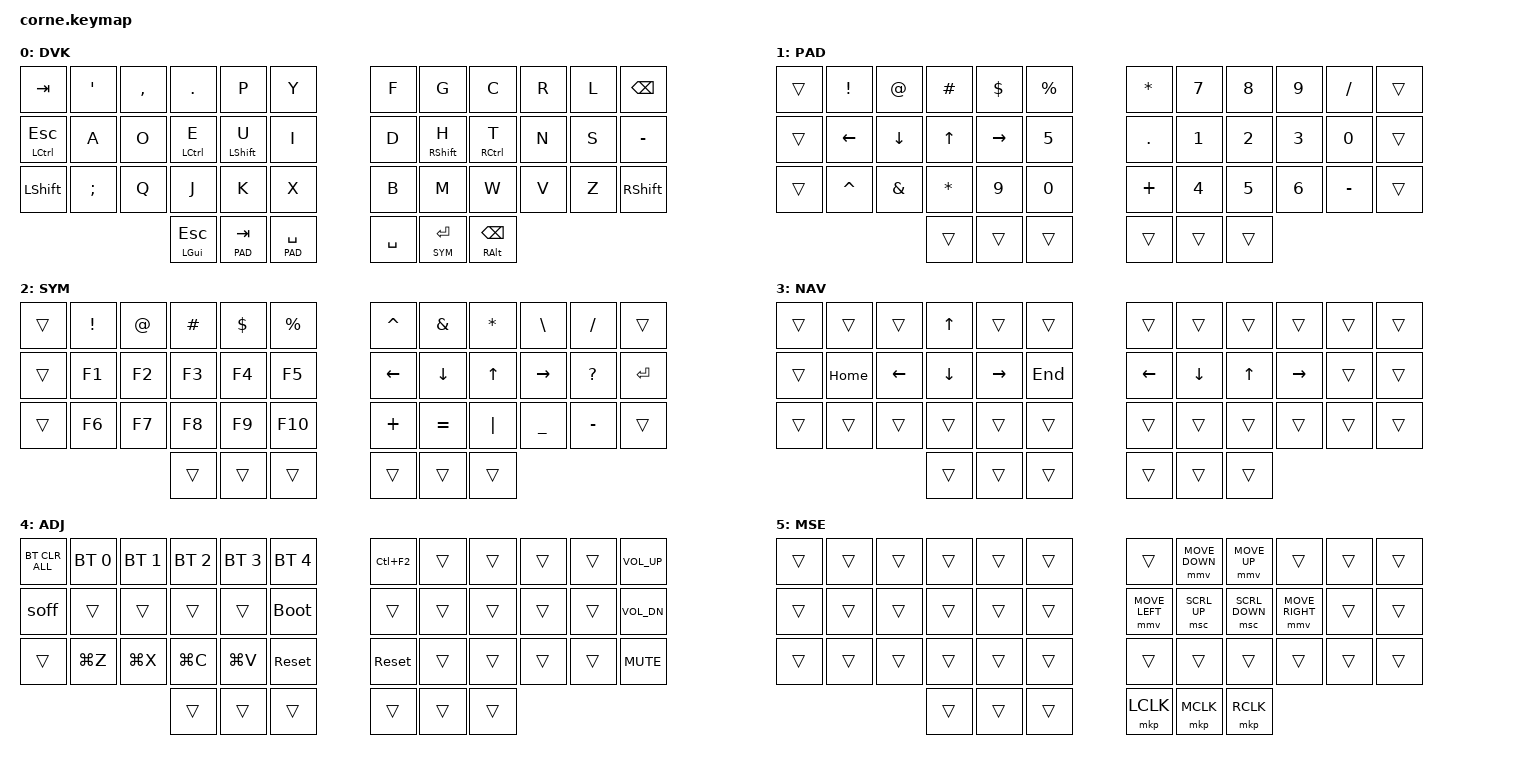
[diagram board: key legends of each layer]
/*
 * Copyright (c) 2020 The ZMK Contributors
 * SPDX-License-Identifier: MIT
 */
#include <behaviors.dtsi>
#include <dt-bindings/zmk/keys.h>
#include <dt-bindings/zmk/bt.h>

#include "zmk-helpers/helper.h"
#include "zmk-helpers/key-labels/42.h"

#define DEF 0
#define PAD 1
#define SYM 2
#define NAV 3
#define ADJ 4
#define MSE 5
// #define QWE 1
// #define CDV 2

#define XXX &none
#define ___ &trans


#define TAP_SPEED 175

/* Homerow mods */

#define KEYS_L LT0 LT1 LT2 LT3 LT4 LT5 LM0 LM1 LM2 LM3 LM4 LM5 LB0 LB1 LB2 LB3 LB4 LB5  // left hand
#define KEYS_R RT0 RT1 RT2 RT3 RT4 RT5 RM0 RM1 RM2 RM3 RM4 RM5 RB0 RB1 RB2 RB3 RB4 RB5 // right hand

#ifndef LH2
    #define THUMBS LH1 LH0 RH0 RH1                                          // thumbs on 34 keys
#else
    #define THUMBS LH2 LH1 LH0 RH0 RH1 RH2                                  // thumbs on 36+ keys
#endif

#define MAKE_HRM(NAME, HOLD, TAP, TRIGGER_POS) \
    ZMK_HOLD_TAP(NAME, \
        flavor = "balanced"; \
        tapping-term-ms = <250>; \
        quick-tap-ms = <150>; \
        require-prior-idle-ms = <150>; \
        bindings = <HOLD>, <TAP>; \
        hold-trigger-key-positions = <TRIGGER_POS>; \
        hold-trigger-on-release; \
    )
MAKE_HRM(hml, &kp, &kp, KEYS_R THUMBS)  // left-hand HRMs
MAKE_HRM(hmr, &kp, &kp, KEYS_L THUMBS)  // right-hand HRMs

// #include "mouse.dtsi"
#define ZMK_POINTING_DEFAULT_MOVE_VAL 1200  // default: 600
#define ZMK_POINTING_DEFAULT_SCRL_VAL 10    // default: 10
#include <dt-bindings/zmk/pointing.h>

&mt {
    flavor = "tap-preferred";
    tapping-term-ms = <TAP_SPEED>;
};

&lt {
    flavor = "balanced";
    tapping-term-ms = <TAP_SPEED>;
};

/ {

    behaviors{  

      tp: tap_preferred {
          compatible = "zmk,behavior-hold-tap";
          /*label = "TAP_PREFERRED";*/
          #binding-cells = <2>;
          tapping-term-ms = <TAP_SPEED>;
          quick-tap-ms = <0>;
          flavor = "tap-preferred";
          bindings = <&kp>, <&kp>;
        };

        // the right side always turns off on press :/
      soff: soft_off {
          compatible = "zmk,behavior-soft-off";
          #binding-cells = <0>;
          // split-peripheral-off-on-press;
          hold-time-ms = <2000>; // Only turn off it the key is held for 2 seconds or longer.
      };
    };

    combos {
      compatible = "zmk,combos";

      combo_grave{
        timeout-ms = <50>;
          key-positions = <1 2>;
          bindings = <&kp GRAVE>;
      };

      combo_tilde{
        timeout-ms = <50>;
          key-positions = <2 3>;
          bindings = <&kp TILDE>;
      };

      combo_plus{
      timeout-ms = <50>;
        key-positions = <6 7>;
        bindings = <&kp PLUS>;
    };

    combo_bslh {
      timeout-ms = <50>;
        key-positions = <7 8>;
        bindings = <&kp BSLH>;
    };

    combo_pipe {
      timeout-ms = <50>;
        key-positions = <8 9>;
        bindings = <&kp PIPE>;
    };

    combo_dqt {
      timeout-ms = <50>;
        key-positions = <9 10>;
        bindings = <&kp DQT>;
    };

    // combo_bspc {
    //   timeout-ms = <50>;
    //     key-positions = <9 10>;
    //     bindings = <&kp BSPC>;
    // };

    combo_lt{
      timeout-ms = <50>;
        key-positions = <13 14>;
        bindings = <&kp LT>;
    };

    combo_lpar {
      timeout-ms = <40>;
        key-positions = <14 15>;
        bindings = <&kp LPAR>;
    };

    combo_lbrc {
      timeout-ms = <40>;
        key-positions = <15 16>;
        bindings = <&kp LBRC>;
    };

    combo_lbkt {
      timeout-ms = <40>;
        key-positions = <16 17>;
        bindings = <&kp LBKT>;
    };

    combo_minus {
      timeout-ms = <40>;
        key-positions = <18 19>;
        bindings = <&kp MINUS>;
    };

    combo_esc {
      timeout-ms = <50>;
        key-positions = <19 20>;
        bindings = <&kp ESC>;
    };

    combo_under {
      timeout-ms = <40>;
        key-positions = <20 21>;
        bindings = <&kp UNDER>;
    };

    combo_hyphen {
      timeout-ms = <40>;
        key-positions = <21 22>;
        bindings = <&kp MINUS>;
    };

    combo_gt{
      timeout-ms = <50>;
        key-positions = <25 26>;
        bindings = <&kp GT>;
    };

    combo_rpar {
      timeout-ms = <40>;
        key-positions = <26 27>;
        bindings = <&kp RPAR>;
    };

    combo_rbrc {
      timeout-ms = <40>;
        key-positions = <27 28>;
        bindings = <&kp RBRC>;
    };

    combo_rbkt {
      timeout-ms = <40>;
        key-positions = <28 29>;
        bindings = <&kp RBKT>;
    };

    combo_equal {
      timeout-ms = <40>;
        key-positions = <30 31>;
        bindings = <&kp EQUAL>;
    };

    combo_fslh{
      timeout-ms = <50>;
        key-positions = <31 32>;
        bindings = <&kp FSLH>;
    };

    combo_qmark{
      timeout-ms = <50>;
        key-positions = <32 33>;
        bindings = <&kp QMARK>;
    };

    combo_colon {
        timeout-ms = <40>;
        key-positions = <33 34>;
        bindings = <&kp COLON>;
    };

    // combo_tab {
    //   timeout-ms = <50>;
    //     key-positions = <33 34>;
    //     bindings = <&kp TAB>;
    // };

  // combos that require both hands
    combo_capw {
      timeout-ms = <50>;
        key-positions = <16 19>;
        bindings = <&caps_word>;
    };

    //    combo_copy_yank {
    //        timeout-ms = <40>;
    //        key-positions = <26 27>;
    //        bindings = <&kp LG(C)>;
    //    };
    //
    // combo_paste {
    //        timeout-ms = <40>;
    //        key-positions = <27 28>;
    //        bindings = <&kp LG(V)>;
    //    };

  };
};

#define CTL_ESC &mt LCTRL ESC
// #define CMD_ESC &mt LGUI ESC
// #define ALT_SPC &mt LALT SPC
// #define CTRL_SPC &mt LCTRL SPC
// #define TD_LAYRSW &tdlayout  // dvorak qwerty

// #define CTL_TDLAY &mt LCTL &tdlayout

// #define TD_PADNAV &tdnavpad  // dvorak qwerty
// #define TD_SPCRET &tdspcret  // space or return

#define BTCLR &bt BT_CLR_ALL
#define BTSEL &bt BT_SEL 

/ {
    conditional_layers {
        compatible = "zmk,conditional-layers";
        tri_layer {
            if-layers = <PAD SYM>;
            then-layer = <ADJ>;
        };
    };

    keymap {
        compatible = "zmk,keymap";
        default_layer {
//  +------------------------------------+        +------------------------------------+
//  | TAB  |  '  |  ,  |  .  |  P  |  Y  |        |  F  |  G  |  C  |  R  |  L  | BKSP |
//  | CTRL |  A  |  O  |  E  |  U  |  I  |        |  D  |  H  |  T  |  N  |  S  | DEL  |
//  | SHFT |  ;  |  Q  |  J  |  K  |  X  |        |  B  |  M  |  W  |  V  |  Z  | S/ESC  |
//  +------------------| GUI | LWR | ENT |        | SPC | RSE | ALT/DEL |--------------+
//                     +-----------------+        +-----------------+
            display-name = "DVK";
            bindings = <
//╭─────────────┬─────────────┬─────────────┬─────────────┬─────────────┬─────────────╮ ╭─────────────┬─────────────┬─────────────┬─────────────┬─────────────┬─────────────╮
    &kp TAB       &kp SQT       &kp COMMA     &kp DOT       &kp P           &kp Y         &kp F         &kp G         &kp C         &kp R         &kp L         &kp BSPC
    CTL_ESC       &kp A         &kp O         &hml LCTRL E  &hml LSHFT U    &kp I         &kp D         &hmr RSHFT H  &hmr RCTRL T  &kp N         &kp S         &kp MINUS
    &kp LSHFT     &kp SEMI      &kp Q         &kp J         &kp K           &kp X         &kp B         &kp M         &kp W         &kp V         &kp Z         &kp RSHFT
                                              /* &mt LALT TAB  &mt LGUI ESC    &lt PAD SPC   &kp SPC       &lt SYM RET   &mt RALT BSPC  */
                                              &mt LGUI ESC  &lt PAD TAB     &lt PAD SPC   &kp SPC       &lt SYM RET   &mt RALT BSPC 

            >;
        };

        pad_layer {
            display-name = "PAD";
            bindings = <
//╭─────────────┬─────────────┬─────────────┬─────────────┬─────────────┬─────────────╮ ╭─────────────┬─────────────┬─────────────┬─────────────┬─────────────┬─────────────╮
    /* &trans         &kp F1       &kp F2         &kp F3        &kp F4        &kp F5          &kp STAR     &kp N7         &kp N8         &kp N9       &kp FSLH     &trans */
    &trans         &kp EXCL     &kp AT         &kp HASH      &kp DLLR       &kp PRCNT       &kp STAR     &kp N7         &kp N8         &kp N9       &kp FSLH     &trans
    &trans         &kp LEFT     &kp DOWN       &kp UP        &kp RIGHT      &kp N5          &kp DOT      &kp N1         &kp N2         &kp N3       &kp N0       &trans 
    &trans         &kp CARET    &kp AMPS       &kp STAR      &kp N9        &kp N0          &kp PLUS     &kp N4         &kp N5         &kp N6       &kp MINUS     &trans
                                               &trans        &trans        &trans          &trans       &trans         &trans  
            >;
        };

//  +------------------------------------+        +------------------------------------+
//  | TAB  |  "  |  <  |  >  |  #  |  1  |        |  2  |  &  |  }  |  {  |  %  | BKSP |
//  | CTRL |  !  |  -  |  +  |  =  |  _  |        |  |  |  :  |  )  |  (  |  ?  | DEL  |
//  | SHFT |  ^  |  /  |  *  |  \  |  $  |        |  `  |  ~  |  ]  |  [  |  @  | S/ESC  |
//  +------------------| GUI | LWR | ENT |        | SPC | RSE | ALT/DEL |--------------+
//                     +-----------------+        +-----------------+
        raise_layer {
            display-name = "SYM";
            bindings = <
&trans &kp EXCL  &kp AT   &kp HASH &kp DLLR  &kp PRCNT  &kp CARET &kp AMPS  &kp STAR  &kp BSLH  &kp FSLH  &trans
&trans &kp F1   &kp F2   &kp F3    &kp F4    &kp F5     &kp LEFT  &kp DOWN  &kp UP    &kp RIGHT &kp QMARK  &kp RET
&trans &kp F6   &kp F7   &kp F8    &kp F9    &kp F10    &kp PLUS  &kp EQUAL &kp PIPE  &kp UNDER &kp MINUS &trans 
                       &trans   &trans   &trans              &trans    &trans    &trans
            >;
        };

        nav_layer {
            display-name = "NAV";
            bindings = <
&trans &trans  &trans  &kp UP &trans   &trans        &trans   &trans   &trans   &trans   &trans   &trans
&trans &kp HOME  &kp LEFT &kp DOWN &kp RIGHT &kp END &kp LEFT &kp DOWN &kp UP &kp RIGHT &trans &trans 
&trans &trans &trans &trans &trans &trans            &trans  &trans &trans &trans &trans &trans
                     &trans &trans &trans            &trans  &trans &trans
            >;
        };

//  +------------------------------------+        +------------------------------------+
//  | BCLR  | BT0 | BT1 | BT2 | BT3 | BT4 |        |     |     | MUTE| VOL-| VOL+ |     |
//  | CTRL |     |     |     |     |     |        |     | LFT | DWN | RGT |     | DEL  |
//  | SHFT |     |     |     |     |     |        |     |     |     |     |     | S/ESC  |
//  +------------------| GUI | LWR | ENT |        | SPC | RSE | ALT/DEL |--------------+
//                     +-----------------+        +-----------------+
        tri_layer {
            display-name = "ADJ";
            bindings = <
BTCLR BTSEL 0   BTSEL 1    BTSEL 2   BTSEL 3   BTSEL 4     &kp LC(F2) &trans &trans &trans &trans &kp C_VOL_UP 
&soff &trans  &trans      &trans    &trans    &bootloader  &trans     &trans &trans &trans &trans &kp C_VOL_DN
/*&soff &trans  &trans      &trans    &trans    &bootloader  &to DEF &to CDV &to QWE &to NAV &trans &kp C_VOL_DN*/
&trans &kp LG(Z) &kp LG(X) &kp LG(C) &kp LG(V) &sys_reset  &sys_reset &trans &trans &trans &trans &kp C_MUTE
                        &trans &trans &trans               &trans &trans &trans
            >;
        };

        mse_layer {
            display-name = "MSE";
            bindings = <
&trans &trans  &trans &trans &trans   &trans        &trans   &mmv MOVE_DOWN &mmv MOVE_UP   &trans   &trans   &trans
&trans &trans  &trans &trans &trans   &trans        &mmv MOVE_LEFT    &msc SCRL_UP   &msc SCRL_DOWN    &mmv MOVE_RIGHT &trans      &trans
// &trans &kp HOME  &kp LEFT &kp DOWN &kp RIGHT &kp END &kp LEFT &kp DOWN &kp UP &kp RIGHT &trans &trans 
&trans &trans &trans &trans &trans &trans            &trans  &trans &trans &trans &trans &trans
                     &trans &trans &trans            &mkp LCLK &mkp MCLK &mkp RCLK
            >;
        };


// -----------------------------------------------------------------------------------------
// | TAB  |  Q  |  W  |  E  |  R  |    T    |   |  Y  |  U   |  I  |  O  |  P  | ESC |
// | CTRL |  A  |  S  |  D  |  F  |    G    |   |  H  |  J   |  K  |  L  |  ;  |  LWR/'   |
// | SHFT |  Z  |  X  |  C  |  V  |    B    |   |  N  |  M   |  ,  |  .  |  /  | SHFT |
//  +------------------| GUI | LWR | ENT |        | SPC | RSE | ALT/DEL |--------------+
//                     +-----------------+        +-----------------+

//         qwe_layer {
//                 display-name = "QWE";
//                 bindings = <
// &kp TAB   &kp Q &kp W &kp E &kp R &kp T   &kp Y &kp U  &kp I     &kp O   &kp P    &kp BSPC
// CTL_ESC   &kp A &kp S &hml LCTRL D &hml LSHFT F &kp G   &kp H &hmr RSHFT J &hmr RCTRL K &kp L &kp SEMI &kp SQT
// &kp LSHFT &kp Z &kp X &kp C &kp V &kp B   &kp N &kp M  &kp COMMA &kp DOT &kp FSLH &kp RSHFT
//                         &trans &trans &trans        &trans &trans &trans
//                 >;
//         };

//         clean_dvk {
//             display-name = "CDV";
//             bindings = <
// &kp TAB   &kp SQT  &kp COMMA &kp DOT &kp P &kp Y    &kp F &kp G &kp C &kp R &kp L &kp BSPC
// CTL_ESC   &kp A    &kp O     &kp E   &kp U &kp I    &kp D &kp H &kp T &kp N &kp S &kp MINUS
// &kp LSHFT &kp SEMI &kp Q     &kp J   &kp K &kp X    &kp B &kp M &kp W &kp V &kp Z &kp RSHFT
//                         &trans &trans &trans        &trans &trans &trans
//             >;
//         };

/*        num_layer {*/
/*            display-name = "NUM";*/
/*            bindings = <*/
/*&trans &kp EXCL &kp AT   &kp HASH  &kp DLLR  &kp PRCNT  &kp CARET &kp AMPS  &kp STAR  &kp LPAR  &kp RPAR  &trans*/
/*&trans &kp N1   &kp N2   &kp N3    &kp N4    &kp N5     &kp LEFT  &kp DOWN  &kp UP    &kp RIGHT &kp QMARK &kp BSLH */
/*&trans &kp N6   &kp N7   &kp N8    &kp N9    &kp N0     &kp GRAVE &kp TILDE &kp EQUAL &kp PLUS  &kp FSLH  &kp PIPE*/
/*                     &trans &trans &trans         &trans  &trans TD_PADNAV*/
/*            >;*/
/*        };*/

    };
};




/*        lower_layer {*/
/*//  +------------------------------------+        +------------------------------------+*/
/*//  | TAB  | F7  | F5  | F3  | F1  | F9  |        | F11 | F2  | F4  | F6  | RGT | BKSP |*/
/*//  | CTRL |  1  |  2  |  3  |  4  |  5  |        |  6  |  7  |  8  |  9  |  0  | DEL  |*/
/*//  | SHFT |     |     |     |     |     |        |     |     |     |     |     | S/ESC  |*/
/*//  +------------------| GUI | LWR | ENT |        | SPC | RSE | ALT/DEL |--------------+*/
/*//                     +-----------------+        +-----------------+*/
/*            display-name = "NUM";*/
/*            bindings = <*/
/*&trans &kp N1 &kp N2 &kp N3 &kp N4 &kp N5         &kp N6  &kp N7 &kp N8 &kp N9 &kp N0 &trans*/
/*&trans &kp FSLH &kp STAR &kp PLUS &kp MINUS &kp DOT &kp LEFT &kp DOWN &kp UP &kp RIGHT &trans &trans */
/*&trans &kp F7 &kp F5 &kp F3 &kp F1 &kp F9         &kp F11 &kp F2 &kp F4 &kp F6 &kp F8 &trans*/
/*                     &trans &trans &trans         &trans  &trans TD_PADNAV*/
/*            >;*/
/*        };*/


        /*hp: hold_preferred {*/
        /*    compatible = "zmk,behavior-hold-tap";*/
        /*    #binding-cells = <2>;*/
        /*    tapping-term-ms = <400>;*/
        /*    quick-tap-ms = <200>;*/
        /*    flavor = "hold-preferred";*/
        /*    bindings = <&kp>, <&kp>;*/
        /*  };*/

        // tdlayout: tdlayswitch {
        //     compatible = "zmk,behavior-tap-dance";
        //     #binding-cells = <0>; 
        //     tapping-term-ms = <TAP_SPEED>; 
        //     bindings = <&to DEF>, <&to CDV>, <&to QWE>;
        // }; 

      // tdnavpad: tdnavpad {
      //     compatible = "zmk,behavior-tap-dance";
      //     #binding-cells = <0>; 
      //     tapping-term-ms = <TAP_SPEED>; 
      //     bindings = <&to NAV>, <&to PAD> ;
      // }; 

      // tdspcret: tdspcret {
      //     compatible = "zmk,behavior-tap-dance";
      //     #binding-cells = <0>; 
      //     tapping-term-ms = <TAP_SPEED>; 
      //     bindings = <&kp SPC>, <&kp RET>; 
      // }; 


/* Key positions
 0    1    2    3    4    5     6    7    8    9    10    11 
 12   13   14   15   16   17    18   19   20   21   22    23 
 24   25   26   27   28   29    30   31   32   33   34    35 
                36   37   38    39 40 41
 */

// &kp     &kp     &kp     &kp     &kp     &kp     &kp     &kp     &kp     &kp     &kp     &kp     
// &trans   &trans   &trans   &trans   &trans   &trans   
// &kp      &kp      &kp      &kp      &kp      &kp     

/*&trans &trans &trans &trans &trans &trans         &trans  &trans &trans &trans &trans &trans*/

/*&trans &kp F7 &kp F5 &kp F3 &kp F1 &kp F9         &kp F11 &kp F2 &kp F4 &kp F6 &kp F8 &trans*/



/* vim: set tw=146: */
